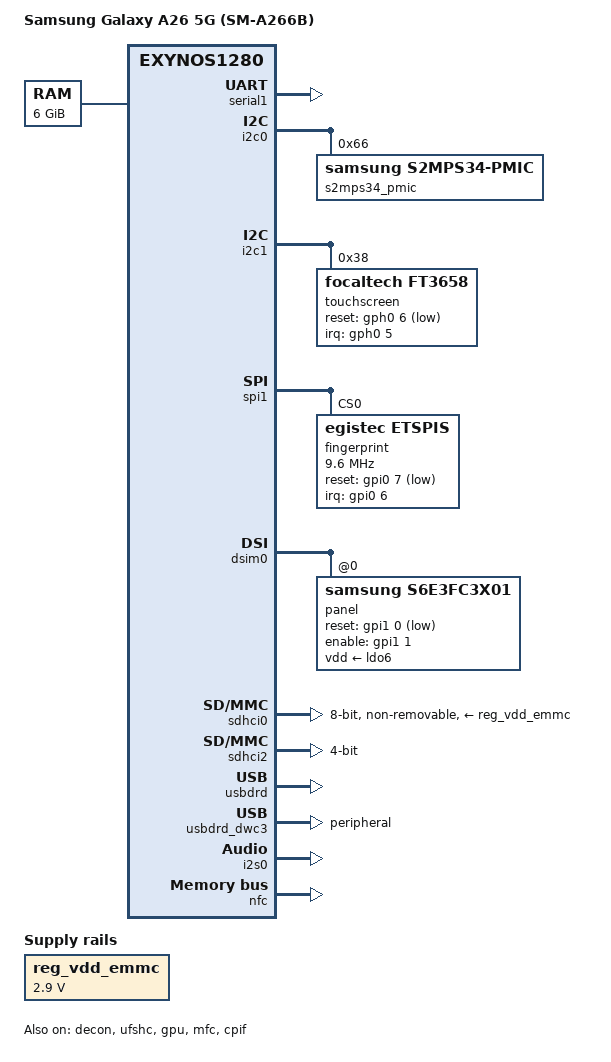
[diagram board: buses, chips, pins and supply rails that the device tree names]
// SPDX-License-Identifier: GPL-2.0
/*
 * Samsung Galaxy A26 5G (SM-A266B) Device Tree
 *
 * Board-level peripherals: PMIC, touch, display panel, fingerprint,
 * storage.  Addresses and GPIO assignments are PLACEHOLDERS.
 */

/dts-v1/;

#include "exynos1280.dtsi"
#include "exynos1280-pmic-s2mps34.dtsi"
#include <dt-bindings/gpio/gpio.h>
#include <dt-bindings/interrupt-controller/irq.h>

/ {
	model = "Samsung Galaxy A26 5G (SM-A266B)";
	compatible = "samsung,a26x", "samsung,exynos1280";

	chosen {
		bootargs = "androidboot.hardware=exynos1280";
	};

	memory@80000000 {
		device_type = "memory";
		reg = <0x0 0x80000000 0x0 0x180000000>; /* 6 GB */
	};

	/* ── Fixed regulators ─────────────────────────────────────────── */

	reg_vdd_emmc: regulator-vdd-emmc {
		compatible = "regulator-fixed";
		regulator-name = "vdd_emmc";
		regulator-min-microvolt = <2900000>;
		regulator-max-microvolt = <2900000>;
		regulator-always-on;
	};
};

/* ── UART ────────────────────────────────────────────────────────────── */

&serial1 {
	status = "okay";
};

/* ── I2C0: PMIC ─────────────────────────────────────────────────────── */

&i2c0 {
	status = "okay";

	s2mps34_pmic: pmic@66 {
		compatible = "samsung,s2mps34-pmic";
		reg = <0x66>;
		/* Full regulator set (39 LDO + 9 BUCK) is provided by the
		 * included exynos1280-pmic-s2mps34.dtsi. */
	};
};

/* ── I2C1: Touchscreen ──────────────────────────────────────────────── */

&i2c1 {
	status = "okay";

	touchscreen@38 {
		compatible = "focaltech,ft3658";
		reg = <0x38>;
		interrupt-parent = <&gph0>;
		interrupts = <5 IRQ_TYPE_EDGE_FALLING>;
		reset-gpios = <&gph0 6 GPIO_ACTIVE_LOW>;
	};
};

/* ── SPI1: Fingerprint ──────────────────────────────────────────────── */

&spi1 {
	status = "okay";

	fingerprint@0 {
		compatible = "egistec,etspis";
		reg = <0>;
		spi-max-frequency = <9600000>;
		interrupt-parent = <&gpi0>;
		interrupts = <6 IRQ_TYPE_EDGE_FALLING>;
		reset-gpios = <&gpi0 7 GPIO_ACTIVE_LOW>;
	};
};

/* ── Display ─────────────────────────────────────────────────────────── */

&decon {
	status = "okay";
};

&dsim0 {
	status = "okay";

	panel@0 {
		compatible = "samsung,s6e3fc3x01";
		reg = <0>;
		reset-gpios = <&gpi1 0 GPIO_ACTIVE_LOW>;
		enable-gpios = <&gpi1 1 GPIO_ACTIVE_HIGH>;
		vdd-supply = <&ldo6>;
	};
};

/* ── eMMC ────────────────────────────────────────────────────────────── */

&sdhci0 {
	status = "okay";
	bus-width = <8>;
	cap-mmc-highspeed;
	mmc-hs200-1_8v;
	mmc-hs400-1_8v;
	non-removable;
	vmmc-supply = <&reg_vdd_emmc>;
};

/* ── SD card ─────────────────────────────────────────────────────────── */

&sdhci2 {
	status = "okay";
	bus-width = <4>;
	cap-sd-highspeed;
	disable-wp;
};

/* ── USB ─────────────────────────────────────────────────────────────── */

&usbdrd {
	status = "okay";
};

&usbdrd_dwc3 {
	dr_mode = "peripheral";
	maximum-speed = "high-speed";
};

/* ── UFS ─────────────────────────────────────────────────────────────── */

&ufshc {
	status = "okay";
};

/* ── GPU ─────────────────────────────────────────────────────────────── */

&gpu {
	status = "okay";
};

/* ── MFC ─────────────────────────────────────────────────────────────── */

&mfc {
	status = "okay";
};

/* ── Audio ───────────────────────────────────────────────────────────── */

&i2s0 {
	status = "okay";
};

/* ── Modem ───────────────────────────────────────────────────────────── */

&cpif {
	status = "okay";
};

/* ── NFC ─────────────────────────────────────────────────────────────── */

&nfc {
	status = "okay";
};
